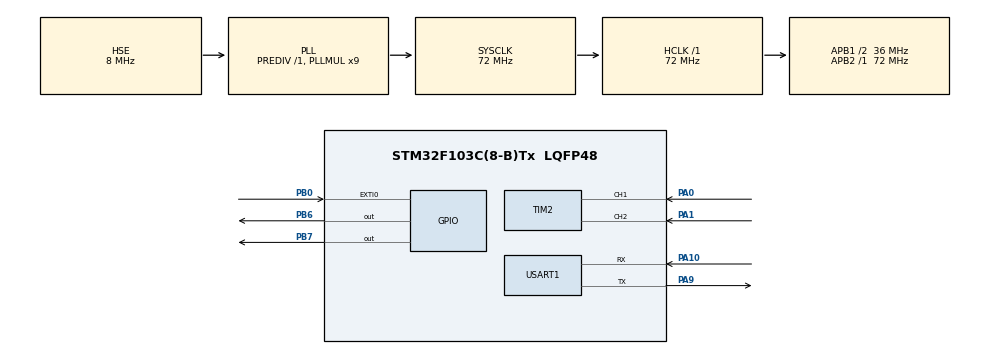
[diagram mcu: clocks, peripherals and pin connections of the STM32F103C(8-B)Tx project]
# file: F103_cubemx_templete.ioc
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Mcu.Family=STM32F1
Mcu.Name=STM32F103C(8-B)Tx
Mcu.Package=LQFP48
NVIC.EXTI0_IRQn=true\:0\:0\:false\:false\:true\:false\:true\:true\:true
NVIC.PriorityGroup=NVIC_PRIORITYGROUP_4
NVIC.TIM1_UP_IRQn=true\:15\:0\:false\:false\:true\:false\:false\:true\:true
NVIC.TimeBase=TIM1_UP_IRQn
NVIC.TimeBaseIP=TIM1
PA0-WKUP.Signal=S_TIM2_CH1_ETR
PA1.Signal=S_TIM2_CH2
PA10.Mode=Asynchronous
PA10.Signal=USART1_RX
PA13.Mode=Serial_Wire
PA13.Signal=SYS_JTMS-SWDIO
PA14.Mode=Serial_Wire
PA14.Signal=SYS_JTCK-SWCLK
PA9.Mode=Asynchronous
PA9.Signal=USART1_TX
PB0.GPIO_ModeDefaultEXTI=GPIO_MODE_IT_FALLING
PB0.GPIO_PuPd=GPIO_PULLUP
PB0.Signal=GPXTI0
PB6.GPIO_ModeDefaultOutputPP=GPIO_MODE_OUTPUT_OD
PB6.GPIO_PuPd=GPIO_NOPULL
PB6.GPIO_Speed=GPIO_SPEED_FREQ_HIGH
PB6.Signal=GPIO_Output
PB7.GPIO_ModeDefaultOutputPP=GPIO_MODE_OUTPUT_OD
PB7.GPIO_PuPd=GPIO_NOPULL
PB7.GPIO_Speed=GPIO_SPEED_FREQ_HIGH
PB7.Signal=GPIO_Output
PD0-OSC_IN.Mode=HSE-External-Oscillator
PD0-OSC_IN.Signal=RCC_OSC_IN
PD1-OSC_OUT.Mode=HSE-External-Oscillator
PD1-OSC_OUT.Signal=RCC_OSC_OUT
ProjectManager.HeapSize=0x200
ProjectManager.StackSize=0x400
ProjectManager.TargetToolchain=MDK-ARM V5.32
RCC.AHBFreq_Value=72000000
RCC.APB1CLKDivider=RCC_HCLK_DIV2
RCC.APB1Freq_Value=36000000
RCC.APB1TimFreq_Value=72000000
RCC.APB2Freq_Value=72000000
RCC.APB2TimFreq_Value=72000000
RCC.HCLKFreq_Value=72000000
RCC.PLLMUL=RCC_PLL_MUL9
RCC.PLLSourceVirtual=RCC_PLLSOURCE_HSE
RCC.SYSCLKFreq_VALUE=72000000
RCC.SYSCLKSource=RCC_SYSCLKSOURCE_PLLCLK
RCC.USBFreq_Value=72000000
RealThread.X-CUBE-RT-Thread_Nano.4.1.1.RTAaThreadCcRTOSJjdevice=true
RealThread.X-CUBE-RT-Thread_Nano.4.1.1.RTAaThreadCcRTOSJjkernel=true
RealThread.X-CUBE-RT-Thread_Nano.4.1.1.RTAaThreadCcRTOSJjlibcpu=true
RealThread.X-CUBE-RT-Thread_Nano.4.1.1.RTAaThreadCcRTOSJjshell=true
SH.S_TIM2_CH1_ETR.0=TIM2_CH1,Encoder_Interface
SH.S_TIM2_CH2.0=TIM2_CH2,Encoder_Interface
TIM2.EncoderMode=TIM_ENCODERMODE_TI12
TIM2.IC2Filter=15
USART1.VirtualMode=VM_ASYNC
VP_RealThread.X-CUBE-RT-Thread_Nano_VS_RTOSJjRTAaThread_4.1.1_4.1.1.Mode=RTOSJjRTAaThread
VP_SYS_VS_tim1.Mode=TIM1
board=custom

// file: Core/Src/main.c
/* USER CODE BEGIN Header */
/**
  ******************************************************************************
  * @file           : main.c
  * @brief          : Main program body
  ******************************************************************************
  * @attention
  *
  * Copyright (c) 2026 STMicroelectronics.
  * All rights reserved.
  *
  * This software is licensed under terms that can be found in the LICENSE file
  * in the root directory of this software component.
  * If no LICENSE file comes with this software, it is provided AS-IS.
  *
  ******************************************************************************
  */
/* USER CODE END Header */
#include "main.h"

/* USER CODE BEGIN Includes */
#include <rtthread.h>
#include "oled.h"
#include "encoder.h"
#include "Easy_Menu.h"
#include "Easy_Menu_User.h"
/* USER CODE END Includes */

TIM_HandleTypeDef htim2;

UART_HandleTypeDef huart1;

void SystemClock_Config(void);
static void MX_GPIO_Init(void);
static void MX_USART1_UART_Init(void);
static void MX_TIM2_Init(void);

/* USER CODE BEGIN 0 */

#define ENCODER_STEP_COUNT  4
#define KEY_DEBOUNCE_MS     20
#define KEY_LONG_MS         800

static uint32_t menu_tick_ms(void)
{
  return (uint32_t)(rt_tick_get() * 1000u / RT_TICK_PER_SECOND);
}

static Easy_Menu_Input_TYPE menu_read_input(void)
{
  static int32_t enc_accum = 0;
  static GPIO_PinState key_last = GPIO_PIN_SET;
  static uint32_t key_down_ms = 0;
  static uint8_t long_sent = 0;

  Easy_Menu_Input_TYPE input = EASY_MENU_NONE;

  int16_t delta = encoder_get_delta();
  enc_accum += delta;
  while (enc_accum >= ENCODER_STEP_COUNT)
  {
    input = EASY_MENU_DOWN;
    enc_accum -= ENCODER_STEP_COUNT;
  }
  while (enc_accum <= -ENCODER_STEP_COUNT)
  {
    input = EASY_MENU_UP;
    enc_accum += ENCODER_STEP_COUNT;
  }

  GPIO_PinState key_now = HAL_GPIO_ReadPin(KEY_ENTER_GPIO_Port, KEY_ENTER_Pin);
  if (key_last == GPIO_PIN_SET && key_now == GPIO_PIN_RESET)
  {
    key_down_ms = menu_tick_ms();
    long_sent = 0;
  }
  else if (key_last == GPIO_PIN_RESET && key_now == GPIO_PIN_RESET)
  {
    if (!long_sent && (menu_tick_ms() - key_down_ms) >= KEY_LONG_MS)
    {
      input = EASY_MENU_LEFT;
      long_sent = 1;
    }
  }
  else if (key_last == GPIO_PIN_RESET && key_now == GPIO_PIN_SET)
  {
    uint32_t dur = menu_tick_ms() - key_down_ms;
    if (dur >= KEY_DEBOUNCE_MS && dur < KEY_LONG_MS)
    {
      input = EASY_MENU_RIGHT;
    }
  }

  key_last = key_now;
  return input;
}

/* USER CODE END 0 */

int main(void)
{

  /* USER CODE BEGIN 1 */
	rt_kprintf("\nHello_RT_thread!\n");

  /* USER CODE END 1 */

  /* MCU Configuration--------------------------------------------------------*/

  /* Reset of all peripherals, Initializes the Flash interface and the Systick. */
  HAL_Init();

  /* Configure the system clock */
  SystemClock_Config();

  /* Initialize all configured peripherals */
  MX_GPIO_Init();
  MX_USART1_UART_Init();
  MX_TIM2_Init();
  /* USER CODE BEGIN 2 */
	OLED_Init();
	encoder_init(&htim2);
  Easy_Menu_Init(Easy_Menu_Display_Char_Port, Easy_Menu_Display_Char_Line_Port, NULL, NULL);
  OLED_Clear();
  OLED_Update();

  /* USER CODE END 2 */

  /* Infinite loop */
  /* USER CODE BEGIN WHILE */
  while (1)
  {
    Easy_Menu_Input_TYPE input = menu_read_input();
    if (input != EASY_MENU_NONE)
    {
      Easy_Menu_Input(input);
    }
    Easy_Menu_Display(menu_tick_ms());
    OLED_Update();
    /* USER CODE END WHILE */

    /* USER CODE BEGIN 3 */
	  rt_thread_mdelay(20);
  }
  /* USER CODE END 3 */
}

void SystemClock_Config(void)
{
  RCC_OscInitTypeDef RCC_OscInitStruct = {0};
  RCC_ClkInitTypeDef RCC_ClkInitStruct = {0};

  /** Initializes the RCC Oscillators according to the specified parameters
  * in the RCC_OscInitTypeDef structure.
  */
  RCC_OscInitStruct.OscillatorType = RCC_OSCILLATORTYPE_HSE;
  RCC_OscInitStruct.HSEState = RCC_HSE_ON;
  RCC_OscInitStruct.HSEPredivValue = RCC_HSE_PREDIV_DIV1;
  RCC_OscInitStruct.HSIState = RCC_HSI_ON;
  RCC_OscInitStruct.PLL.PLLState = RCC_PLL_ON;
  RCC_OscInitStruct.PLL.PLLSource = RCC_PLLSOURCE_HSE;
  RCC_OscInitStruct.PLL.PLLMUL = RCC_PLL_MUL9;
  if (HAL_RCC_OscConfig(&RCC_OscInitStruct) != HAL_OK)
  {
    Error_Handler();
  }

  /** Initializes the CPU, AHB and APB buses clocks
  */
  RCC_ClkInitStruct.ClockType = RCC_CLOCKTYPE_HCLK|RCC_CLOCKTYPE_SYSCLK
                              |RCC_CLOCKTYPE_PCLK1|RCC_CLOCKTYPE_PCLK2;
  RCC_ClkInitStruct.SYSCLKSource = RCC_SYSCLKSOURCE_PLLCLK;
  RCC_ClkInitStruct.AHBCLKDivider = RCC_SYSCLK_DIV1;
  RCC_ClkInitStruct.APB1CLKDivider = RCC_HCLK_DIV2;
  RCC_ClkInitStruct.APB2CLKDivider = RCC_HCLK_DIV1;

  if (HAL_RCC_ClockConfig(&RCC_ClkInitStruct, FLASH_LATENCY_2) != HAL_OK)
  {
    Error_Handler();
  }
}

static void MX_TIM2_Init(void)
{

  TIM_Encoder_InitTypeDef sConfig = {0};
  TIM_MasterConfigTypeDef sMasterConfig = {0};

  htim2.Instance = TIM2;
  htim2.Init.Prescaler = 0;
  htim2.Init.CounterMode = TIM_COUNTERMODE_UP;
  htim2.Init.Period = 65535;
  htim2.Init.ClockDivision = TIM_CLOCKDIVISION_DIV1;
  htim2.Init.AutoReloadPreload = TIM_AUTORELOAD_PRELOAD_DISABLE;
  sConfig.EncoderMode = TIM_ENCODERMODE_TI12;
  sConfig.IC1Polarity = TIM_ICPOLARITY_RISING;
  sConfig.IC1Selection = TIM_ICSELECTION_DIRECTTI;
  sConfig.IC1Prescaler = TIM_ICPSC_DIV1;
  sConfig.IC1Filter = 0;
  sConfig.IC2Polarity = TIM_ICPOLARITY_RISING;
  sConfig.IC2Selection = TIM_ICSELECTION_DIRECTTI;
  sConfig.IC2Prescaler = TIM_ICPSC_DIV1;
  sConfig.IC2Filter = 15;
  if (HAL_TIM_Encoder_Init(&htim2, &sConfig) != HAL_OK)
  {
    Error_Handler();
  }
  sMasterConfig.MasterOutputTrigger = TIM_TRGO_RESET;
  sMasterConfig.MasterSlaveMode = TIM_MASTERSLAVEMODE_DISABLE;
  if (HAL_TIMEx_MasterConfigSynchronization(&htim2, &sMasterConfig) != HAL_OK)
  {
    Error_Handler();
  }

}

static void MX_USART1_UART_Init(void)
{

  huart1.Instance = USART1;
  huart1.Init.BaudRate = 115200;
  huart1.Init.WordLength = UART_WORDLENGTH_8B;
  huart1.Init.StopBits = UART_STOPBITS_1;
  huart1.Init.Parity = UART_PARITY_NONE;
  huart1.Init.Mode = UART_MODE_TX_RX;
  huart1.Init.HwFlowCtl = UART_HWCONTROL_NONE;
  huart1.Init.OverSampling = UART_OVERSAMPLING_16;
  if (HAL_UART_Init(&huart1) != HAL_OK)
  {
    Error_Handler();
  }

}

static void MX_GPIO_Init(void)
{
  GPIO_InitTypeDef GPIO_InitStruct = {0};

  /* GPIO Ports Clock Enable */
  __HAL_RCC_GPIOD_CLK_ENABLE();
  __HAL_RCC_GPIOA_CLK_ENABLE();
  __HAL_RCC_GPIOB_CLK_ENABLE();

  /*Configure GPIO pin Output Level */
  HAL_GPIO_WritePin(GPIOB, GPIO_PIN_6|GPIO_PIN_7, GPIO_PIN_RESET);

  /*Configure GPIO pin : PB0 */
  GPIO_InitStruct.Pin = GPIO_PIN_0;
  GPIO_InitStruct.Mode = GPIO_MODE_IT_FALLING;
  GPIO_InitStruct.Pull = GPIO_PULLUP;
  HAL_GPIO_Init(GPIOB, &GPIO_InitStruct);

  /*Configure GPIO pins : PB6 PB7 */
  GPIO_InitStruct.Pin = GPIO_PIN_6|GPIO_PIN_7;
  GPIO_InitStruct.Mode = GPIO_MODE_OUTPUT_OD;
  GPIO_InitStruct.Pull = GPIO_NOPULL;
  GPIO_InitStruct.Speed = GPIO_SPEED_FREQ_HIGH;
  HAL_GPIO_Init(GPIOB, &GPIO_InitStruct);

  /* EXTI interrupt init*/
  HAL_NVIC_SetPriority(EXTI0_IRQn, 0, 0);
  HAL_NVIC_EnableIRQ(EXTI0_IRQn);

}

void HAL_TIM_PeriodElapsedCallback(TIM_HandleTypeDef *htim)
{
  if (htim->Instance == TIM1)
  {
    HAL_IncTick();
  }
}

void Error_Handler(void)
{
  __disable_irq();
  while (1)
  {
  }
}
